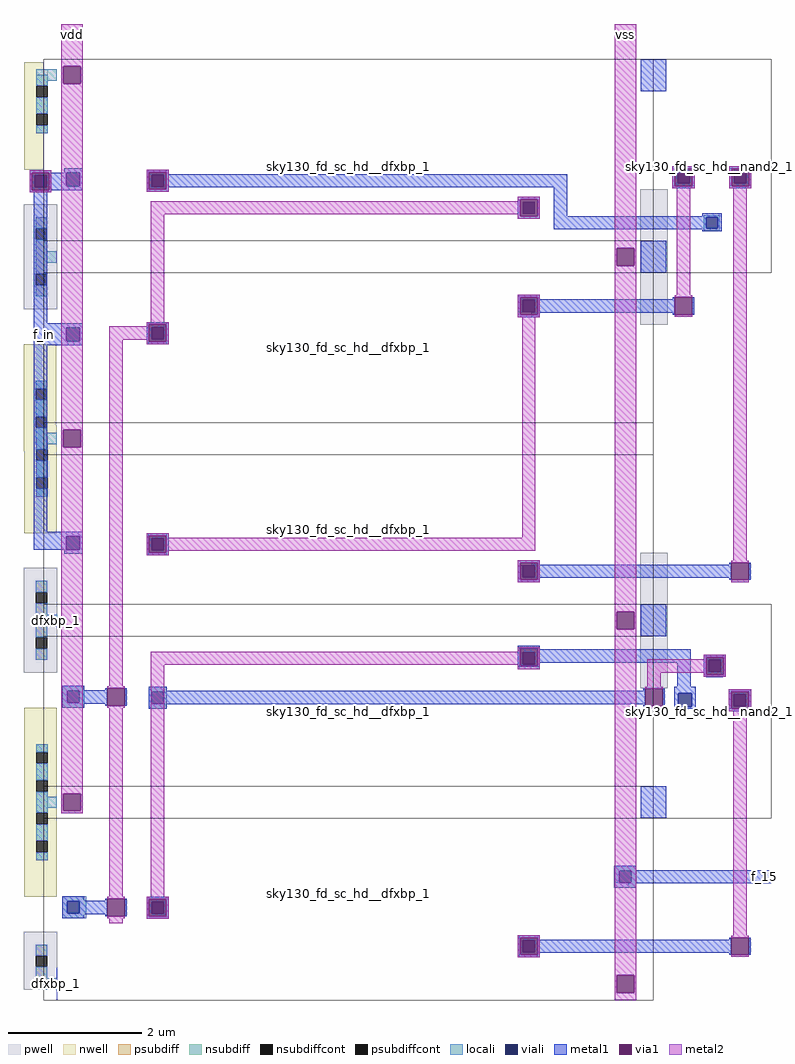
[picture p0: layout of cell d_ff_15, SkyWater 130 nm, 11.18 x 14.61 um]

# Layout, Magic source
magic
tech sky130A
magscale 1 2
<< nwell >>
rect -97 561 -38 582
rect -97 370 -27 561
rect -97 261 -38 370
rect -98 -506 -1 -261
rect -98 -582 0 -506
rect -97 -827 0 -582
rect -97 -1915 0 -1349
<< pwell >>
rect -98 -157 1 157
rect 1747 -203 1829 203
rect -98 -1245 1 -931
rect 1747 -1291 1829 -885
rect -98 -2193 1 -2019
<< psubdiff >>
rect -62 85 -28 118
rect -62 -51 -28 51
rect -62 -118 -28 -85
rect -62 -1003 -28 -970
rect -62 -1139 -28 -1037
rect -62 -1206 -28 -1173
rect -62 -2091 -28 -2058
rect -62 -2193 -28 -2125
<< nsubdiff >>
rect -61 512 -27 545
rect -61 428 -27 478
rect -61 370 -27 394
rect -62 -394 -28 -370
rect -62 -478 -28 -428
rect -62 -543 -28 -512
rect -62 -545 -27 -543
rect -61 -576 -27 -545
rect -61 -660 -27 -610
rect -61 -718 -27 -694
rect -61 -1482 -27 -1458
rect -61 -1566 -27 -1516
rect -61 -1664 -27 -1600
rect -61 -1748 -27 -1698
rect -61 -1806 -27 -1782
<< psubdiffcont >>
rect -62 51 -28 85
rect -62 -85 -28 -51
rect -62 -1037 -28 -1003
rect -62 -1173 -28 -1139
rect -62 -2125 -28 -2091
<< nsubdiffcont >>
rect -61 478 -27 512
rect -61 394 -27 428
rect -62 -428 -28 -394
rect -62 -512 -28 -478
rect -61 -610 -27 -576
rect -61 -694 -27 -660
rect -61 -1516 -27 -1482
rect -61 -1600 -27 -1566
rect -61 -1698 -27 -1664
rect -61 -1782 -27 -1748
<< locali >>
rect -61 527 0 561
rect -61 512 -27 527
rect -61 428 -27 478
rect -61 370 -27 394
rect -81 244 -16 259
rect -81 208 -66 244
rect -30 208 -16 244
rect 274 246 330 261
rect -81 193 -16 208
rect 274 210 284 246
rect 320 210 330 246
rect 1843 256 1909 265
rect 1843 220 1858 256
rect 1894 220 1909 256
rect 1843 211 1909 220
rect 2013 256 2079 265
rect 2013 220 2028 256
rect 2064 220 2079 256
rect 2013 211 2079 220
rect 274 195 330 210
rect 1937 119 1985 125
rect -62 85 -28 118
rect 1937 85 1944 119
rect 1978 85 1985 119
rect 1937 78 1985 85
rect -62 17 -28 51
rect -62 -17 0 17
rect -62 -51 -28 -17
rect -62 -118 -28 -85
rect 1380 -129 1446 -114
rect 1380 -165 1395 -129
rect 1431 -165 1446 -129
rect 1421 -180 1446 -165
rect 274 -210 330 -195
rect 274 -246 284 -210
rect 320 -246 330 -210
rect 274 -261 330 -246
rect -62 -394 -28 -370
rect -62 -478 -28 -428
rect -62 -527 -28 -512
rect -62 -561 0 -527
rect -61 -576 -27 -561
rect -61 -660 -27 -610
rect -61 -718 -27 -694
rect 274 -842 330 -827
rect 274 -878 284 -842
rect 320 -878 330 -842
rect 274 -893 330 -878
rect 1422 -923 1446 -908
rect 1380 -959 1395 -923
rect 1431 -959 1446 -923
rect -62 -1003 -28 -970
rect 1380 -974 1446 -959
rect -62 -1071 -28 -1037
rect -62 -1105 1 -1071
rect -62 -1139 -28 -1105
rect -62 -1206 -28 -1173
rect 1385 -1183 1441 -1168
rect 1385 -1219 1395 -1183
rect 1431 -1219 1441 -1183
rect 1385 -1234 1441 -1219
rect 1944 -1206 1998 -1191
rect 1944 -1242 1952 -1206
rect 1988 -1242 1998 -1206
rect 1944 -1257 1998 -1242
rect 1944 -1258 1994 -1257
rect 16 -1299 82 -1284
rect 16 -1335 31 -1299
rect 67 -1335 82 -1299
rect 16 -1350 82 -1335
rect 275 -1301 329 -1286
rect 275 -1337 283 -1301
rect 319 -1337 329 -1301
rect 275 -1352 329 -1337
rect 2012 -1309 2078 -1299
rect 2012 -1345 2027 -1309
rect 2063 -1345 2078 -1309
rect 275 -1353 325 -1352
rect 2012 -1353 2078 -1345
rect -61 -1482 -27 -1458
rect -61 -1566 -27 -1516
rect -61 -1615 -27 -1600
rect -61 -1649 0 -1615
rect -61 -1664 -27 -1649
rect -61 -1748 -27 -1698
rect -61 -1806 -27 -1782
rect 1669 -1837 1735 -1822
rect 1669 -1873 1684 -1837
rect 1720 -1873 1735 -1837
rect 1711 -1888 1735 -1873
rect 18 -1914 88 -1913
rect 16 -1929 88 -1914
rect 16 -1965 31 -1929
rect 67 -1965 88 -1929
rect 16 -1980 88 -1965
rect 274 -1930 330 -1920
rect 274 -1966 284 -1930
rect 320 -1966 330 -1930
rect 274 -1976 330 -1966
rect 1385 -2045 1441 -2030
rect -62 -2091 -28 -2058
rect 1385 -2081 1395 -2045
rect 1431 -2081 1441 -2045
rect 1385 -2096 1441 -2081
rect -62 -2159 -28 -2125
rect -62 -2193 1 -2159
<< viali >>
rect -66 208 -30 244
rect 29 212 69 252
rect 284 210 320 246
rect 1858 220 1894 256
rect 2028 220 2064 256
rect 1395 129 1431 165
rect 1944 85 1978 119
rect 1395 -165 1431 -129
rect 29 -252 69 -212
rect 284 -246 320 -210
rect 29 -876 69 -836
rect 284 -878 320 -842
rect 1395 -959 1431 -923
rect 1395 -1219 1431 -1183
rect 1952 -1242 1988 -1206
rect 31 -1335 67 -1299
rect 283 -1337 319 -1301
rect 1860 -1346 1900 -1306
rect 2027 -1345 2063 -1309
rect 1684 -1873 1720 -1837
rect 31 -1965 67 -1929
rect 284 -1966 320 -1930
rect 1395 -2081 1431 -2045
<< metal1 >>
rect 1748 496 1824 592
rect -81 252 -16 259
rect 22 252 78 265
rect 1843 264 1909 271
rect -81 200 -74 252
rect -22 212 29 252
rect 69 212 78 252
rect -22 200 78 212
rect -81 199 78 200
rect 269 254 335 261
rect 269 202 276 254
rect 328 248 335 254
rect 328 208 1528 248
rect 328 202 335 208
rect -81 193 -16 199
rect 269 195 335 202
rect -68 -199 -28 193
rect 1380 173 1446 180
rect 1380 121 1387 173
rect 1439 121 1446 173
rect 1380 114 1446 121
rect 1488 122 1528 208
rect 1843 212 1850 264
rect 1902 212 1909 264
rect 1843 205 1909 212
rect 2013 264 2079 271
rect 2013 212 2020 264
rect 2072 212 2079 264
rect 2013 205 2079 212
rect 1932 122 1990 131
rect 1488 119 1990 122
rect 1488 85 1944 119
rect 1978 85 1990 119
rect 1488 82 1990 85
rect 1932 76 1990 82
rect 1748 -48 1824 48
rect 1380 -121 1446 -114
rect 1380 -173 1387 -121
rect 1439 -127 1446 -121
rect 1844 -127 1850 -121
rect 1439 -167 1850 -127
rect 1439 -173 1446 -167
rect 1844 -173 1850 -167
rect 1902 -173 1908 -121
rect 1380 -180 1446 -173
rect -68 -212 78 -199
rect -68 -252 29 -212
rect 69 -252 78 -212
rect -68 -265 78 -252
rect 269 -202 335 -195
rect 269 -254 276 -202
rect 328 -254 335 -202
rect 269 -261 335 -254
rect -68 -823 -28 -265
rect -68 -836 78 -823
rect -68 -876 29 -836
rect 69 -876 78 -836
rect 22 -889 78 -876
rect 269 -834 335 -827
rect 269 -886 276 -834
rect 328 -886 335 -834
rect 269 -893 335 -886
rect 1380 -915 1446 -908
rect 1380 -967 1387 -915
rect 1439 -921 1446 -915
rect 2013 -921 2019 -915
rect 1439 -961 2019 -921
rect 1439 -967 1446 -961
rect 2013 -967 2019 -961
rect 2071 -967 2077 -915
rect 1380 -974 1446 -967
rect 1748 -1136 1824 -1040
rect 1380 -1171 1446 -1164
rect 1380 -1223 1387 -1171
rect 1439 -1174 1446 -1171
rect 1439 -1214 1897 -1174
rect 1439 -1223 1446 -1214
rect 1380 -1227 1446 -1223
rect 16 -1297 82 -1284
rect 146 -1297 152 -1291
rect 16 -1299 152 -1297
rect 16 -1335 31 -1299
rect 67 -1335 152 -1299
rect 16 -1337 152 -1335
rect 16 -1350 82 -1337
rect 146 -1343 152 -1337
rect 204 -1343 210 -1291
rect 275 -1299 329 -1286
rect 1857 -1287 1897 -1214
rect 1937 -1198 2003 -1191
rect 1937 -1250 1944 -1198
rect 1996 -1250 2003 -1198
rect 1937 -1257 2003 -1250
rect 1756 -1299 1762 -1293
rect 275 -1301 1762 -1299
rect 275 -1337 283 -1301
rect 319 -1337 1762 -1301
rect 275 -1339 1762 -1337
rect 275 -1352 329 -1339
rect 1756 -1345 1762 -1339
rect 1814 -1345 1820 -1293
rect 1848 -1306 1912 -1287
rect 1848 -1346 1860 -1306
rect 1900 -1346 1912 -1306
rect 1848 -1353 1912 -1346
rect 2012 -1301 2078 -1294
rect 2012 -1353 2019 -1301
rect 2071 -1353 2078 -1301
rect 2012 -1360 2078 -1353
rect 1748 -1680 1824 -1584
rect 1669 -1835 1735 -1822
rect 1669 -1837 2138 -1835
rect 1669 -1873 1684 -1837
rect 1720 -1873 2138 -1837
rect 1669 -1875 2138 -1873
rect 1669 -1888 1735 -1875
rect 16 -1927 82 -1914
rect 146 -1927 152 -1921
rect 16 -1929 152 -1927
rect 16 -1965 31 -1929
rect 67 -1965 152 -1929
rect 16 -1967 152 -1965
rect 16 -1980 82 -1967
rect 146 -1973 152 -1967
rect 204 -1973 210 -1921
rect 269 -1922 335 -1915
rect 269 -1974 276 -1922
rect 328 -1974 335 -1922
rect 269 -1981 335 -1974
rect 1380 -2037 1446 -2030
rect 1380 -2089 1387 -2037
rect 1439 -2043 1446 -2037
rect 2013 -2043 2019 -2037
rect 1439 -2083 2019 -2043
rect 1439 -2089 1446 -2083
rect 2013 -2089 2019 -2083
rect 2071 -2089 2077 -2037
rect 1380 -2096 1446 -2089
rect 0 -2224 1 -2128
<< via1 >>
rect 20 518 72 570
rect -74 244 -22 252
rect -74 208 -66 244
rect -66 208 -30 244
rect -30 208 -22 244
rect -74 200 -22 208
rect 276 246 328 254
rect 276 210 284 246
rect 284 210 320 246
rect 320 210 328 246
rect 276 202 328 210
rect 1387 165 1439 173
rect 1387 129 1395 165
rect 1395 129 1431 165
rect 1431 129 1439 165
rect 1387 121 1439 129
rect 1850 256 1902 264
rect 1850 220 1858 256
rect 1858 220 1894 256
rect 1894 220 1902 256
rect 1850 212 1902 220
rect 2020 256 2072 264
rect 2020 220 2028 256
rect 2028 220 2064 256
rect 2064 220 2072 256
rect 2020 212 2072 220
rect 1676 -26 1728 26
rect 1387 -129 1439 -121
rect 1387 -165 1395 -129
rect 1395 -165 1431 -129
rect 1431 -165 1439 -129
rect 1387 -173 1439 -165
rect 1850 -173 1902 -121
rect 276 -210 328 -202
rect 276 -246 284 -210
rect 284 -246 320 -210
rect 320 -246 328 -210
rect 276 -254 328 -246
rect 20 -570 72 -518
rect 276 -842 328 -834
rect 276 -878 284 -842
rect 284 -878 320 -842
rect 320 -878 328 -842
rect 276 -886 328 -878
rect 1387 -923 1439 -915
rect 1387 -959 1395 -923
rect 1395 -959 1431 -923
rect 1431 -959 1439 -923
rect 1387 -967 1439 -959
rect 2019 -967 2071 -915
rect 1676 -1114 1728 -1062
rect 1387 -1183 1439 -1171
rect 1387 -1219 1395 -1183
rect 1395 -1219 1431 -1183
rect 1431 -1219 1439 -1183
rect 1387 -1223 1439 -1219
rect 152 -1343 204 -1291
rect 1944 -1206 1996 -1198
rect 1944 -1242 1952 -1206
rect 1952 -1242 1988 -1206
rect 1988 -1242 1996 -1206
rect 1944 -1250 1996 -1242
rect 1762 -1345 1814 -1293
rect 2019 -1309 2071 -1301
rect 2019 -1345 2027 -1309
rect 2027 -1345 2063 -1309
rect 2063 -1345 2071 -1309
rect 2019 -1353 2071 -1345
rect 20 -1658 72 -1606
rect 152 -1973 204 -1921
rect 276 -1930 328 -1922
rect 276 -1966 284 -1930
rect 284 -1966 320 -1930
rect 320 -1966 328 -1930
rect 276 -1974 328 -1966
rect 1387 -2045 1439 -2037
rect 1387 -2081 1395 -2045
rect 1395 -2081 1431 -2045
rect 1431 -2081 1439 -2045
rect 1387 -2089 1439 -2081
rect 2019 -2089 2071 -2037
rect 1676 -2202 1728 -2150
<< metal2 >>
rect 14 570 78 697
rect 14 518 20 570
rect 72 518 78 570
rect -81 252 -16 259
rect -81 200 -74 252
rect -22 200 -16 252
rect -81 193 -16 200
rect 14 -518 78 518
rect 269 254 335 261
rect 269 202 276 254
rect 328 202 335 254
rect 269 195 335 202
rect 1380 173 1446 180
rect 1380 167 1387 173
rect 282 127 1387 167
rect 282 -195 322 127
rect 1380 121 1387 127
rect 1439 121 1446 173
rect 1380 114 1446 121
rect 1670 26 1734 697
rect 1843 264 1909 271
rect 1843 212 1850 264
rect 1902 212 1909 264
rect 1843 205 1909 212
rect 2013 264 2079 271
rect 2013 212 2020 264
rect 2072 212 2079 264
rect 2013 205 2079 212
rect 1670 -26 1676 26
rect 1728 -26 1734 26
rect 1380 -121 1446 -114
rect 1380 -173 1387 -121
rect 1439 -173 1446 -121
rect 1380 -180 1446 -173
rect 269 -202 335 -195
rect 269 -208 276 -202
rect 14 -570 20 -518
rect 72 -570 78 -518
rect 14 -1606 78 -570
rect 158 -248 276 -208
rect 158 -1285 198 -248
rect 269 -254 276 -248
rect 328 -254 335 -202
rect 269 -261 335 -254
rect 269 -834 335 -827
rect 269 -886 276 -834
rect 328 -840 335 -834
rect 1393 -840 1433 -180
rect 328 -880 1433 -840
rect 328 -886 335 -880
rect 269 -893 335 -886
rect 1380 -915 1446 -908
rect 1380 -967 1387 -915
rect 1439 -967 1446 -915
rect 1380 -974 1446 -967
rect 1670 -1062 1734 -26
rect 1856 -115 1896 205
rect 1850 -121 1902 -115
rect 1850 -179 1902 -173
rect 2025 -909 2065 205
rect 2019 -915 2071 -909
rect 2019 -973 2071 -967
rect 1670 -1114 1676 -1062
rect 1728 -1114 1734 -1062
rect 1380 -1171 1446 -1168
rect 1380 -1181 1387 -1171
rect 282 -1221 1387 -1181
rect 152 -1291 204 -1285
rect 152 -1349 204 -1343
rect 14 -1658 20 -1606
rect 72 -1658 78 -1606
rect 14 -1665 78 -1658
rect 158 -1915 198 -1349
rect 282 -1915 322 -1221
rect 1380 -1223 1387 -1221
rect 1439 -1223 1446 -1171
rect 1380 -1234 1446 -1223
rect 152 -1921 204 -1915
rect 152 -1979 204 -1973
rect 269 -1922 335 -1915
rect 269 -1974 276 -1922
rect 328 -1974 335 -1922
rect 158 -1994 198 -1979
rect 269 -1981 335 -1974
rect 1380 -2037 1446 -2030
rect 1380 -2089 1387 -2037
rect 1439 -2089 1446 -2037
rect 1380 -2096 1446 -2089
rect 1670 -2150 1734 -1114
rect 1937 -1198 2003 -1191
rect 1937 -1204 1944 -1198
rect 1768 -1244 1944 -1204
rect 1768 -1287 1808 -1244
rect 1937 -1250 1944 -1244
rect 1996 -1250 2003 -1198
rect 1937 -1257 2003 -1250
rect 1762 -1293 1814 -1287
rect 1762 -1351 1814 -1345
rect 2012 -1301 2078 -1294
rect 2012 -1353 2019 -1301
rect 2071 -1353 2078 -1301
rect 2012 -1360 2078 -1353
rect 2025 -2031 2065 -1360
rect 2019 -2037 2071 -2031
rect 2019 -2095 2071 -2089
rect 1670 -2202 1676 -2150
rect 1728 -2202 1734 -2150
rect 1670 -2224 1734 -2202
use sky130_fd_sc_hd__dfxbp_1  sky130_fd_sc_hd__dfxbp_1_0 pdks/sky130A/libs.ref/sky130_fd_sc_hd/mag
transform 1 0 0 0 1 0
box -38 -48 1786 592
use sky130_fd_sc_hd__dfxbp_1  sky130_fd_sc_hd__dfxbp_1_1
transform 1 0 0 0 -1 0
box -38 -48 1786 592
use sky130_fd_sc_hd__dfxbp_1  sky130_fd_sc_hd__dfxbp_1_2
transform 1 0 0 0 1 -1088
box -38 -48 1786 592
use sky130_fd_sc_hd__dfxbp_1  sky130_fd_sc_hd__dfxbp_1_3
transform 1 0 0 0 -1 -1088
box -38 -48 1786 592
use sky130_fd_sc_hd__dfxbp_1  sky130_fd_sc_hd__dfxbp_1_4
transform 1 0 0 0 1 -2176
box -38 -48 1786 592
use sky130_fd_sc_hd__nand2_1  sky130_fd_sc_hd__nand2_1_0 pdks/sky130A/libs.ref/sky130_fd_sc_hd/mag
transform 1 0 1824 0 1 0
box -38 -48 314 592
use sky130_fd_sc_hd__nand2_1  sky130_fd_sc_hd__nand2_1_1
transform 1 0 1824 0 -1 -1088
box -38 -48 314 592
<< labels >>
rlabel metal1 -68 -265 -2 -199 0 f_in
port 1 n
rlabel metal2 14 633 78 697 0 vdd
port 2 n
rlabel metal2 1670 633 1734 697 5 vss
port 3 n
rlabel metal1 2098 -1875 2138 -1835 7 f_15
port 4 n
rlabel comment s 0 -1088 0 -1088 4 dfxbp_1
rlabel comment s 0 -2176 0 -2176 4 dfxbp_1
<< end >>
